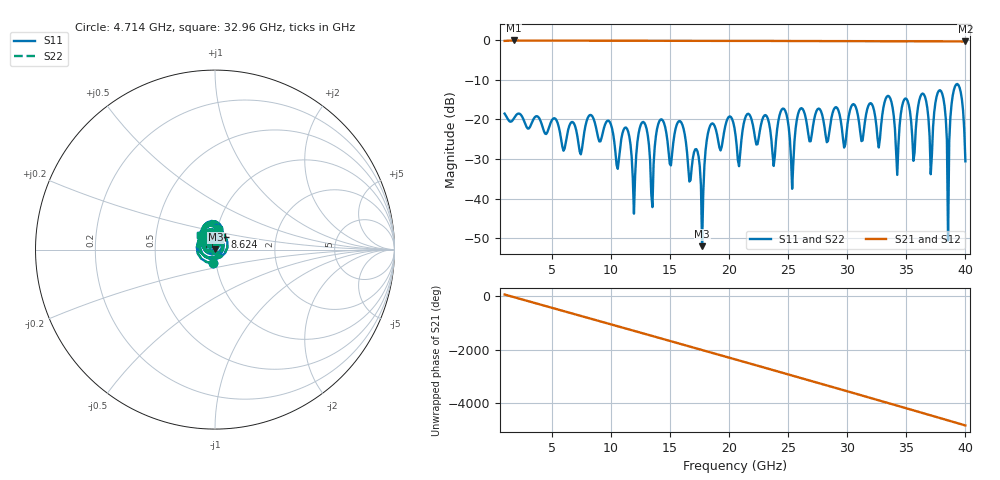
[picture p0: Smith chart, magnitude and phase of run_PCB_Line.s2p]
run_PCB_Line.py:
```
import os
import sys
sys.path.insert(0, os.path.abspath(os.path.join(os.path.dirname(__file__), 'modules')))

import modules.util_stackup_reader as stackup_reader
import modules.util_gds_reader as gds_reader
import modules.util_utilities as utilities
import modules.util_simulation_setup as simulation_setup
import modules.util_meshlines as util_meshlines

from CSXCAD  import ContinuousStructure
from openEMS import openEMS
import numpy as np
import matplotlib.pyplot as plt

# Model comments
# 
# Run model with both port excitations, for full S-matrix:
# Get S11 and S21 from port 1 excitation
# Get S22 and S12 from port 2 excitation
# Meshing: simulation_setup.setupSimulation() uses xy_mesh_function=util_meshlines.create_xy_mesh_from_polygons 


# ======================== workflow settings ================================

# preview model/mesh only?
# postprocess existing data without re-running simulation?
preview_only = False
postprocess_only = True
simulate_dumps = False          #Turn this on to allow creation of dumps !!High storage consumption!!
# ===================== input files and path settings =======================

gds_filename = "PCB_Line.gds"   # geometries
XML_filename = "STACK_PCB.xml"               # stackup
# XML_filename = "SG13G2_nosub.xml"               # stackup

# preprocess GDSII for safe handling of cutouts/holes?
preprocess_gds = False

# merge via polygons with distance less than .. microns, set to 0 to disable via merging.
merge_polygon_size = 0

# get path for this simulation file
script_path = utilities.get_script_path(__file__)

# use script filename as model basename
model_basename = utilities.get_basename(__file__)

# set and create directory for simulation output
sim_path = utilities.create_sim_path (script_path, model_basename)
print('Simulation data directory: ', sim_path)

# change current path to model script path
os.chdir(os.path.dirname(os.path.abspath(__file__)))

# ======================== simulation settings ================================

unit   = 1e-6  # geometry is in microns
margin = 500    # distance in microns from GDSII geometry boundary to simulation boundary 

fstart =  1e9
fstop  = 40e9
numfreq = 400

refined_cellsize = 10  # mesh cell size in conductor region

# choices for boundary: 
# 'PEC' : perfect electric conductor (default)
# 'PMC' : perfect magnetic conductor, useful for symmetries
# 'MUR' : simple MUR absorbing boundary conditions
# 'PML_8' : PML absorbing boundary conditions
Boundaries = ['PML_8', 'PML_8', 'PML_8', 'PML_8', 'PML_8', 'PML_8']

cells_per_wavelength = 10   # how many mesh cells per wavelength, must be 10 or more
energy_limit = -23          # end criteria for residual energy (dB)

# ports from GDSII Data, polygon geometry from specified special layer
# note that for multiport simulation, excitations are switched on/off in simulation_setup.createSimulation below

simulation_ports = simulation_setup.all_simulation_ports()
# second port has opposite direction, because ground is on the other side
simulation_ports.add_port(simulation_setup.simulation_port(portnumber=1, voltage=1.0, port_Z0=100, source_layernum=201, target_layername='FCu', direction='x'))
simulation_ports.add_port(simulation_setup.simulation_port(portnumber=2, voltage=0.0, port_Z0=100, source_layernum=202, target_layername='FCu', direction='-x'))

# ======================== simulation ================================

# get technology stackup data
materials_list, dielectrics_list, metals_list = stackup_reader.read_substrate (XML_filename)
# get list of layers from technology
layernumbers = metals_list.getlayernumbers()
layernumbers.extend(simulation_ports.portlayers)

# read geometries from GDSII, only purpose 0
allpolygons = gds_reader.read_gds(gds_filename, layernumbers, purposelist=[0], metals_list=metals_list, preprocess=preprocess_gds, merge_polygon_size=merge_polygon_size)

# calculate maximum cellsize from wavelength in dielectric
wavelength_air = 3e8/fstop / unit
max_cellsize = (wavelength_air)/(np.sqrt(materials_list.eps_max)*cells_per_wavelength) 



########### create model, run and post-process ###########
FDTD = openEMS(EndCriteria=np.exp(energy_limit/10 * np.log(10)))
FDTD.SetGaussExcite( (fstart+fstop)/2, (fstop-fstart)/2 )
FDTD.SetBoundaryCond( Boundaries )


# Create simulation for port 1 and 2 excitation, return value is list of data paths, one for each excitation
data_paths = []
for excite_ports in [[1]]:  # list of ports that are excited one after another
    FDTD = simulation_setup.setupSimulation (excite_ports, 
                                             simulation_ports, 
                                             FDTD, 
                                             materials_list, 
                                             dielectrics_list, 
                                             metals_list, 
                                             allpolygons, 
                                             max_cellsize, 
                                             refined_cellsize, 
                                             margin, 
                                             unit, 
                                             xy_mesh_function=util_meshlines.create_xy_mesh_from_polygons)
    if simulate_dumps:
        CSX = FDTD.GetCSX()

        Et = CSX.AddDump('Et', dump_type=0, file_type=0, sub_sampling=[2,2,2])
        start = [-4500, -15000, 3950]
        stop  = [4500, 15000, 4350]
        Et.AddBox(start, stop)

        Ht = CSX.AddDump('Ht', dump_type=1, file_type=0, sub_sampling=[2,2,2])
        start = [-4500, -15000, 3950]
        stop  = [4500, 15000, 4350]
        Ht.AddBox(start, stop)
        
        Jt = CSX.AddDump('Jt', dump_type=2, file_type=0, sub_sampling=[2,2,2])
        start = [-4500, -15000, 3950]
        stop  = [4500, 15000, 4350]
        Jt.AddBox(start, stop)

        rotHt = CSX.AddDump('rotHt', dump_type=3, file_type=0, sub_sampling=[2,2,2])
        start = [-4500, -15000, 3950]
        stop  = [4500, 15000, 4350]
        rotHt.AddBox(start, stop)
        
        f = [1e9,10e9,20e9,30e9,40e9]
        
        Ef = CSX.AddDump('Ef', dump_type=10, file_type=0, sub_sampling=[2,2,2], frequency=f)
        start = [-4500, -15000, 3950]
        stop  = [4500, 15000, 4350]
        Ef.AddBox(start, stop)

        Hf = CSX.AddDump('Hf', dump_type=11, file_type=0, sub_sampling=[2,2,2], frequency=f)
        start = [-4500, -15000, 3950]
        stop  = [4500, 15000, 4350]
        Hf.AddBox(start, stop)
        
        Jf = CSX.AddDump('Jf', dump_type=12, file_type=0, sub_sampling=[2,2,2], frequency=f)
        start = [-4500, -15000, 3950]
        stop  = [4500, 15000, 4350]
        Jf.AddBox(start, stop)

        rotHf = CSX.AddDump('rotHf', dump_type=13, file_type=0, sub_sampling=[2,2,2], frequency=f)
        start = [-4500, -15000, 3950]
        stop  = [4500, 15000, 4350]
        rotHf.AddBox(start, stop)
    
    
    data_paths.append(simulation_setup.runSimulation (excite_ports, FDTD, sim_path, model_basename, preview_only, postprocess_only))
    


########## evaluation of results with composite GSG ports ###########

if preview_only==False:

    print('Begin data evaluation')

    # define dB function for S-parameters
    def dB(value):
        return 20.0*np.log10(np.abs(value))        

    # define phase function for S-parameters
    def phase(value):
        return np.angle(value, deg=True) 

    f = np.linspace(fstart,fstop,numfreq)


    # get results, CSX port definition is read from simulation ports object
    # S12, S22 is available because we have simulated both port1 and port2  excitation
    s11 = utilities.calculate_Sij (1, 1, f, sim_path, simulation_ports)
    s21 = utilities.calculate_Sij (2, 1, f, sim_path, simulation_ports)
    # Faking symmetry
    s12 = s21
    s22 = s11

    # write Touchstone S2P file
    s2p_name = os.path.join(sim_path, model_basename + '.s2p')
    utilities.write_snp (np.array([[s11, s21],[s12,s22]]),f, s2p_name)

    print('Starting plots')

    fig, axis = plt.subplots(num='Return Loss', tight_layout=True)
    axis.plot(f/1e9, dB(s11), 'k-',  linewidth=2, label='S11 (dB)')
    axis.plot(f/1e9, dB(s22), 'r--', linewidth=2, label='S22 (dB)')
    axis.grid()
    axis.set_xmargin(0)
    axis.set_xlabel('Frequency (GHz)')
    axis.set_title('Return Loss')
    axis.legend()
    
    fig, axis = plt.subplots(num='Insertion Loss', tight_layout=True)
    axis.plot(f/1e9, dB(s21), 'k-',  linewidth=2, label='S21 (dB)')
    axis.plot(f/1e9, dB(s12), 'r--', linewidth=2, label='S12 (dB)')
    axis.grid()
    axis.set_xmargin(0)
    axis.set_xlabel('Frequency (GHz)')
    axis.set_title('Insertion Loss')
    axis.legend()

    fig, axis = plt.subplots(num='Transmission Phase', tight_layout=True)
    axis.plot(f/1e9, phase(s21), 'k-',  linewidth=2, label='S21 (dB)')
    axis.grid()
    axis.set_xmargin(0)
    axis.set_xlabel('Frequency (GHz)')
    axis.set_title('Transmission Phase')
    axis.legend()


   # show all plots
    plt.show()
```
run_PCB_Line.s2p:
#  Hz  S  RI  R  50
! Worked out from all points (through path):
!   400 points, 1 GHz to 40 GHz, reference 50 ohm
!   highest |S21| = -0.07 dB at 1.782 GHz (marker M1); lowest = -0.3 dB at 40 GHz (marker M2)
!   lowest |S11| = -52.0 dB at 17.71 GHz (marker M3), VSWR 1.01, Z = 50.2 + j0.0731 ohm
!   |S11| at or under -10 dB: start of sweep to end of sweep
!   |S22| runs from -52.0 to -11.1 dB; largest |S21 - S12| = 0
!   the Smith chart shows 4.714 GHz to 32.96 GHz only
!   S11 on the Smith chart (normalised r, x): 4.714 GHz: 0.97, -0.14; 8.624 GHz: 1.11, +0.16; 32.96 GHz: 0.84, +0.13
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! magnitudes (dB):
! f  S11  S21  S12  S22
! 1 GHz  -18.6  -0.2  -0.2  -18.6
! 1.782 GHz  -19.8  -0.1  -0.1  -19.8
! 4.714 GHz  -22.5  -0.1  -0.1  -22.5
! 8.624 GHz  -20.7  -0.1  -0.1  -20.7
! 11.95 GHz  -43.8  -0.1  -0.1  -43.8
! 15.95 GHz  -20.8  -0.1  -0.1  -20.8
! 17.71 GHz  -52.0  -0.1  -0.1  -52.0
! 18.3 GHz  -22.4  -0.2  -0.2  -22.4
! 20.55 GHz  -24.1  -0.2  -0.2  -24.1
! 32.96 GHz  -18.9  -0.3  -0.3  -18.9
! 40 GHz  -30.6  -0.3  -0.3  -30.6
